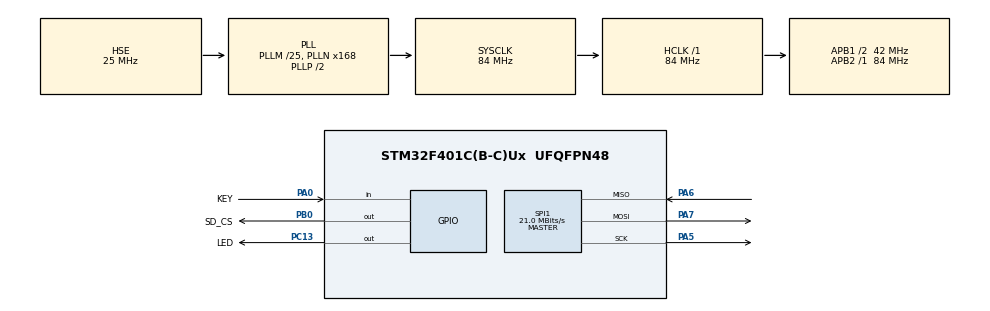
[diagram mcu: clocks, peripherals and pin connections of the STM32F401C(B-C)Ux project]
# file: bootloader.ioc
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FATFS._MAX_SS=512
FATFS._USE_LFN=1
Mcu.Family=STM32F4
Mcu.Name=STM32F401C(B-C)Ux
Mcu.Package=UFQFPN48
NVIC.PriorityGroup=NVIC_PRIORITYGROUP_4
PA0-WKUP.GPIO_Label=KEY
PA0-WKUP.GPIO_PuPd=GPIO_PULLUP
PA0-WKUP.Signal=GPIO_Input
PA13.Mode=Trace_Asynchronous_SW
PA13.Signal=SYS_JTMS-SWDIO
PA14.Mode=Trace_Asynchronous_SW
PA14.Signal=SYS_JTCK-SWCLK
PA5.Mode=Full_Duplex_Master
PA5.Signal=SPI1_SCK
PA6.Mode=Full_Duplex_Master
PA6.Signal=SPI1_MISO
PA7.Mode=Full_Duplex_Master
PA7.Signal=SPI1_MOSI
PB0.GPIO_Label=SD_CS
PB0.Signal=GPIO_Output
PB3.Mode=Trace_Asynchronous_SW
PB3.Signal=SYS_JTDO-SWO
PC13-ANTI_TAMP.GPIO_Label=LED
PC13-ANTI_TAMP.Signal=GPIO_Output
PH0\ -\ OSC_IN.Mode=HSE-External-Oscillator
PH0\ -\ OSC_IN.Signal=RCC_OSC_IN
PH1\ -\ OSC_OUT.Mode=HSE-External-Oscillator
PH1\ -\ OSC_OUT.Signal=RCC_OSC_OUT
ProjectManager.HeapSize=0x200
ProjectManager.StackSize=0x400
ProjectManager.TargetToolchain=STM32CubeIDE
RCC.48MHZClocksFreq_Value=42000000
RCC.AHBFreq_Value=84000000
RCC.APB1CLKDivider=RCC_HCLK_DIV2
RCC.APB1Freq_Value=42000000
RCC.APB1TimFreq_Value=84000000
RCC.APB2Freq_Value=84000000
RCC.APB2TimFreq_Value=84000000
RCC.CortexFreq_Value=84000000
RCC.HCLKFreq_Value=84000000
RCC.HSE_VALUE=25000000
RCC.HSI_VALUE=16000000
RCC.LSE_VALUE=32768
RCC.PLLM=25
RCC.PLLN=168
RCC.PLLSourceVirtual=RCC_PLLSOURCE_HSE
RCC.SYSCLKFreq_VALUE=84000000
RCC.SYSCLKSource=RCC_SYSCLKSOURCE_PLLCLK
RCC.VCOOutputFreq_Value=168000000
SPI1.BaudRatePrescaler=SPI_BAUDRATEPRESCALER_4
SPI1.CalculateBaudRate=21.0 MBits/s
SPI1.Direction=SPI_DIRECTION_2LINES
SPI1.Mode=SPI_MODE_MASTER
SPI1.VirtualType=VM_MASTER
VP_FATFS_VS_Generic.Mode=User_defined
board=custom

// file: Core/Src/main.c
/* USER CODE BEGIN Header */
/**
  ******************************************************************************
  * @file           : main.c
  * @brief          : Main program body
  ******************************************************************************
  * @attention
  *
  * Copyright (c) 2022 STMicroelectronics.
  * All rights reserved.
  *
  * This software is licensed under terms that can be found in the LICENSE file
  * in the root directory of this software component.
  * If no LICENSE file comes with this software, it is provided AS-IS.
  *
  ******************************************************************************
  */
/* USER CODE END Header */
#include "main.h"
#include "fatfs.h"

/* USER CODE BEGIN Includes */
#include "fatfs_sd.h"
#include "string.h"
#include "stdio.h"
/* USER CODE END Includes */

/* USER CODE BEGIN PD */
#define PROGRAM_SECTOR_START FLASH_SECTOR_4 // start sector is number 4
#define APPLICATION_ADDRESS  (uint32_t)((FLASH_BASE + (PROGRAM_SECTOR_START * 16 * 1024)))
#define BLOCK_SIZE_MAX 512
/* USER CODE END PD */

/* USER CODE BEGIN PM */
typedef void (*pFunction)(void);
/* USER CODE END PM */

 SPI_HandleTypeDef hspi1;

/* USER CODE BEGIN PV */
SPI_HandleTypeDef SD_SPI_HANDLE;
/* USER CODE END PV */

void SystemClock_Config(void);
static void MX_GPIO_Init(void);
static void MX_SPI1_Init(void);
/* USER CODE BEGIN PFP */
void JumpToApplication();
void UpdateFirmware();
HAL_StatusTypeDef EaraseAppFlash();
void WriteAppFlash(uint32_t offset, uint32_t address, TCHAR *data, size_t size);
/* USER CODE END PFP */

/* USER CODE BEGIN 0 */
int _write(int32_t file, uint8_t *ptr, int32_t len)
{
    for (int i = 0; i < len; i++)
    {
        ITM_SendChar(*ptr++);
    }
    return len;
}
/* USER CODE END 0 */

int main(void)
{

  /* MCU Configuration--------------------------------------------------------*/

  /* Reset of all peripherals, Initializes the Flash interface and the Systick. */
  HAL_Init();

  /* Configure the system clock */
  SystemClock_Config();

  /* Initialize all configured peripherals */
  MX_GPIO_Init();
  MX_SPI1_Init();
  MX_FATFS_Init();
  /* USER CODE BEGIN 2 */
  HAL_GPIO_WritePin(LED_GPIO_Port, LED_Pin, GPIO_PIN_SET);
  HAL_Delay(100);
  //UpdateFirmware();
  GPIO_PinState state = HAL_GPIO_ReadPin(KEY_GPIO_Port, KEY_Pin);
  if (state == GPIO_PIN_RESET)
  {
	  state = HAL_GPIO_ReadPin(KEY_GPIO_Port, KEY_Pin);
	  if (state == GPIO_PIN_RESET)
	  {
		  UpdateFirmware();
	  }
  }
  JumpToApplication();
  /* USER CODE END 2 */

  /* Infinite loop */
  while (1)
  {

  }
}

void SystemClock_Config(void)
{
  RCC_OscInitTypeDef RCC_OscInitStruct = {0};
  RCC_ClkInitTypeDef RCC_ClkInitStruct = {0};

  /** Configure the main internal regulator output voltage
  */
  __HAL_RCC_PWR_CLK_ENABLE();
  __HAL_PWR_VOLTAGESCALING_CONFIG(PWR_REGULATOR_VOLTAGE_SCALE2);

  /** Initializes the RCC Oscillators according to the specified parameters
  * in the RCC_OscInitTypeDef structure.
  */
  RCC_OscInitStruct.OscillatorType = RCC_OSCILLATORTYPE_HSE;
  RCC_OscInitStruct.HSEState = RCC_HSE_ON;
  RCC_OscInitStruct.PLL.PLLState = RCC_PLL_ON;
  RCC_OscInitStruct.PLL.PLLSource = RCC_PLLSOURCE_HSE;
  RCC_OscInitStruct.PLL.PLLM = 25;
  RCC_OscInitStruct.PLL.PLLN = 168;
  RCC_OscInitStruct.PLL.PLLP = RCC_PLLP_DIV2;
  RCC_OscInitStruct.PLL.PLLQ = 4;
  if (HAL_RCC_OscConfig(&RCC_OscInitStruct) != HAL_OK)
  {
    Error_Handler();
  }

  /** Initializes the CPU, AHB and APB buses clocks
  */
  RCC_ClkInitStruct.ClockType = RCC_CLOCKTYPE_HCLK|RCC_CLOCKTYPE_SYSCLK
                              |RCC_CLOCKTYPE_PCLK1|RCC_CLOCKTYPE_PCLK2;
  RCC_ClkInitStruct.SYSCLKSource = RCC_SYSCLKSOURCE_PLLCLK;
  RCC_ClkInitStruct.AHBCLKDivider = RCC_SYSCLK_DIV1;
  RCC_ClkInitStruct.APB1CLKDivider = RCC_HCLK_DIV2;
  RCC_ClkInitStruct.APB2CLKDivider = RCC_HCLK_DIV1;

  if (HAL_RCC_ClockConfig(&RCC_ClkInitStruct, FLASH_LATENCY_2) != HAL_OK)
  {
    Error_Handler();
  }
}

static void MX_SPI1_Init(void)
{

  /* SPI1 parameter configuration*/
  hspi1.Instance = SPI1;
  hspi1.Init.Mode = SPI_MODE_MASTER;
  hspi1.Init.Direction = SPI_DIRECTION_2LINES;
  hspi1.Init.DataSize = SPI_DATASIZE_8BIT;
  hspi1.Init.CLKPolarity = SPI_POLARITY_LOW;
  hspi1.Init.CLKPhase = SPI_PHASE_1EDGE;
  hspi1.Init.NSS = SPI_NSS_SOFT;
  hspi1.Init.BaudRatePrescaler = SPI_BAUDRATEPRESCALER_4;
  hspi1.Init.FirstBit = SPI_FIRSTBIT_MSB;
  hspi1.Init.TIMode = SPI_TIMODE_DISABLE;
  hspi1.Init.CRCCalculation = SPI_CRCCALCULATION_DISABLE;
  hspi1.Init.CRCPolynomial = 10;
  if (HAL_SPI_Init(&hspi1) != HAL_OK)
  {
    Error_Handler();
  }

}

static void MX_GPIO_Init(void)
{
  GPIO_InitTypeDef GPIO_InitStruct = {0};

  /* GPIO Ports Clock Enable */
  __HAL_RCC_GPIOC_CLK_ENABLE();
  __HAL_RCC_GPIOH_CLK_ENABLE();
  __HAL_RCC_GPIOA_CLK_ENABLE();
  __HAL_RCC_GPIOB_CLK_ENABLE();

  /*Configure GPIO pin Output Level */
  HAL_GPIO_WritePin(LED_GPIO_Port, LED_Pin, GPIO_PIN_RESET);

  /*Configure GPIO pin Output Level */
  HAL_GPIO_WritePin(SD_CS_GPIO_Port, SD_CS_Pin, GPIO_PIN_RESET);

  /*Configure GPIO pin : LED_Pin */
  GPIO_InitStruct.Pin = LED_Pin;
  GPIO_InitStruct.Mode = GPIO_MODE_OUTPUT_PP;
  GPIO_InitStruct.Pull = GPIO_NOPULL;
  GPIO_InitStruct.Speed = GPIO_SPEED_FREQ_LOW;
  HAL_GPIO_Init(LED_GPIO_Port, &GPIO_InitStruct);

  /*Configure GPIO pin : KEY_Pin */
  GPIO_InitStruct.Pin = KEY_Pin;
  GPIO_InitStruct.Mode = GPIO_MODE_INPUT;
  GPIO_InitStruct.Pull = GPIO_PULLUP;
  HAL_GPIO_Init(KEY_GPIO_Port, &GPIO_InitStruct);

  /*Configure GPIO pin : SD_CS_Pin */
  GPIO_InitStruct.Pin = SD_CS_Pin;
  GPIO_InitStruct.Mode = GPIO_MODE_OUTPUT_PP;
  GPIO_InitStruct.Pull = GPIO_NOPULL;
  GPIO_InitStruct.Speed = GPIO_SPEED_FREQ_LOW;
  HAL_GPIO_Init(SD_CS_GPIO_Port, &GPIO_InitStruct);

}

/* USER CODE BEGIN 4 */
void JumpToApplication(void)
{
	printf("Start MainApp at:0x%.8x\n", (unsigned int)APPLICATION_ADDRESS);
	pFunction appEntry;
	uint32_t appStack;

	/* Get the application stack pointer (First entry in the application vector table) */
	appStack = (uint32_t) *((__IO uint32_t*)APPLICATION_ADDRESS);

	/* Get the application entry point (Second entry in the application vector table) */
	appEntry = (pFunction) *(__IO uint32_t*) (APPLICATION_ADDRESS + 4);

	/* Reconfigure vector table offset register to match the application location */
	SCB->VTOR = APPLICATION_ADDRESS;

	/* Set the application stack pointer */
	__set_MSP(appStack);

	/* Start the application */
	appEntry();
}
//-------------------
void UpdateFirmware()
{
	FATFS fatfs;
	FIL file;
	FRESULT fres;

	fres = f_mount(&fatfs, "", 0);
	if (fres == FR_OK)
	{
	  fres = f_open(&file, "firmware.bin", FA_READ);
	  if (fres == FR_OK)
	  {
		  if (EaraseAppFlash() != HAL_OK)
		  {
			  printf("An Error earasing flash program!\n");
			  Error_Handler();
		  }

		  printf("An earasing flash is successfully!\n");

		  FSIZE_t fsize = f_size(&file);
		  if (fsize <= 0)
		  {
			  printf("A firmware file is empty!");
			  return;
		  }

		  printf("A file size is %u\n", (unsigned int)fsize);

		  uint32_t rbytes = 0;
		  while (rbytes < fsize)
		  {
			  TCHAR buffer[BLOCK_SIZE_MAX];
			  UINT len = 0;
			  fres = f_lseek(&file, rbytes);
			  if (fres != FR_OK)
			  {
				  printf("An error offset position in file!\n");
				  Error_Handler();
			  }
			  f_read(&file, buffer, sizeof(buffer), &len);
			  if (len > 0)
			  {
				  for (int i = 0; i < len; i += 4)
				  {
					  printf("BYTE = 0x%02x%02x%02x%02x\n", buffer[i], buffer[i + 1], buffer[i + 2], buffer[i + 3]);
				  }
				  WriteAppFlash(APPLICATION_ADDRESS, rbytes, buffer, len);
				  rbytes += len;
				  printf("A reading is %u bytes (curent = %u, total = %u bytes)\n", (unsigned int)len, (unsigned int)rbytes, (unsigned int)fsize);
			  }
			  else
			  {
				  printf("A reading data is empty!\n");
				  Error_Handler();
			  }
		  }
		  if (rbytes == fsize)
		  {
			  printf("A firmware is loading successfully (size = %u)!\n", (unsigned int)rbytes);
			  for (uint8_t i = 0; i < 10; i++)
			  {
				  HAL_GPIO_TogglePin(LED_GPIO_Port, LED_Pin);
				  HAL_Delay(100);
			  }
		  }
		  else
		  {
			  printf("An error loading firmware (%u from %u)\n", (unsigned int)rbytes, (unsigned int)fsize);
			  Error_Handler();
		  }
	  }
	  f_close(&file);
	}
}
//--------------------------------
HAL_StatusTypeDef EaraseAppFlash()
{
	HAL_FLASH_Unlock();
	HAL_StatusTypeDef status;
	uint32_t sector_error;

	FLASH_EraseInitTypeDef flash_erase =
	{
		.TypeErase = FLASH_TYPEERASE_SECTORS,
		.Sector = PROGRAM_SECTOR_START,
		.NbSectors = FLASH_SECTOR_TOTAL - PROGRAM_SECTOR_START,
		.VoltageRange = FLASH_VOLTAGE_RANGE_1
	};
	status = HAL_FLASHEx_Erase(&flash_erase, &sector_error);
	HAL_FLASH_Lock();

	return status;
}
//-----------------------------------------------------------------------------
void WriteAppFlash(uint32_t offset, uint32_t address, TCHAR *data, size_t size)
{
	HAL_FLASH_Unlock();

	for (uint16_t i = 0; i < size; i++)
	{
		uint32_t addr = offset + address + i;
		HAL_FLASH_Program(FLASH_TYPEPROGRAM_BYTE, addr, data[i]);
	}

	HAL_FLASH_Lock();
}
/* USER CODE END 4 */

void Error_Handler(void)
{
  __disable_irq();
  while (1)
  {
  }
}
